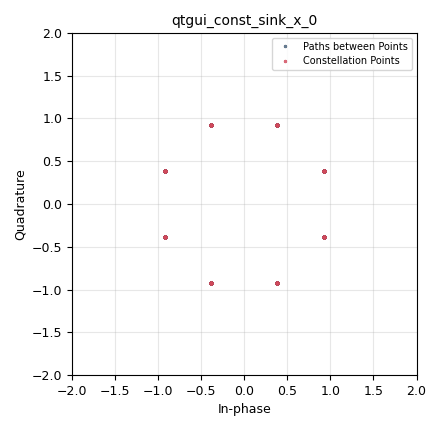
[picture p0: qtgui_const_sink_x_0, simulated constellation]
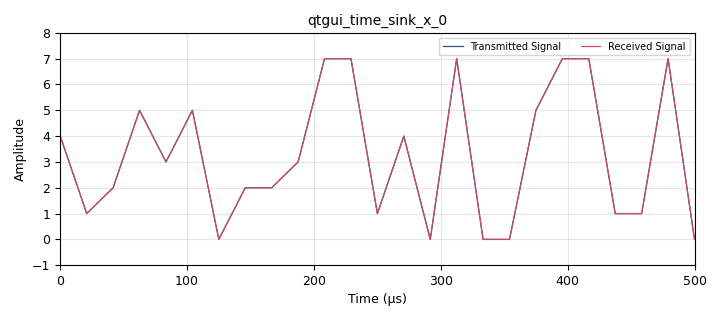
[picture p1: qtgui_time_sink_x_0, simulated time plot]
options:
  parameters:
    author: Gary Schafer
    generate_options: qt_gui
    id: psk8_modulator
    output_language: python
    title: 8PSK Modulator / Demodulator
  states: {}

blocks:
- name: psk_default
  id: variable_constellation
  parameters:
    precision: '8'
    type: 8psk
  states: {}
- name: samp_rate
  id: variable
  parameters:
    value: '48000'
  states: {}
- name: analog_random_source_x_0
  id: analog_random_source_x
  parameters:
    max: '8'
    min: '0'
    num_samps: '1000'
    repeat: 'True'
    type: byte
  states: {}
- name: blocks_add_const_vxx_1
  id: blocks_add_const_vxx
  parameters:
    comment: |-
      Rotate the constellation
      by pi/8 radians so that
      each pair of points reside
      within one quadrant.
      Value: 1j*np.pi/8
    const: 1j*np.pi/8
    type: complex
  states: {}
- name: blocks_char_to_float_0
  id: blocks_char_to_float
  parameters:
    scale: '1'
  states: {}
- name: blocks_char_to_float_0_0
  id: blocks_char_to_float
  parameters:
    scale: '1'
  states: {}
- name: blocks_char_to_float_0_1
  id: blocks_char_to_float
  parameters:
    scale: '1'
  states: {}
- name: blocks_float_to_complex_0
  id: blocks_float_to_complex
  parameters: {}
  states: {}
- name: blocks_multiply_const_vxx_1
  id: blocks_multiply_const_vxx
  parameters:
    comment: |-
      Multiply by pi/4
      radians to phase
      modulate the
      signal.
      Value: 1j*np.pi/4
    const: 1j*np.pi/4
    type: complex
  states: {}
- name: blocks_throttle_0
  id: blocks_throttle
  parameters:
    samples_per_second: samp_rate
    type: byte
  states: {}
- name: blocks_transcendental_0
  id: blocks_transcendental
  parameters:
    comment: |-
      Transmitter
      -----------------
      Use the "exp" function
      to create the complex
      phasor. The output of
      this block is the
      transmitted signal.
    name: exp
    type: complex_float
  states: {}
- name: digital_constellation_decoder_cb_0
  id: digital_constellation_decoder_cb
  parameters:
    comment: |-
      Receiver
      -------------
      Constellation Object: psk_default
    constellation: psk_default
  states: {}
- name: digital_map_bb_0
  id: digital_map_bb
  parameters:
    map: '[0,3,7,4,1,2,6,5]'
  states: {}
- name: import_0
  id: import
  parameters:
    comment: import numpy as np
    imports: import numpy as np
  states: {}
- name: qtgui_const_sink_x_0
  id: qtgui_const_sink_x
  parameters:
    label1: Paths between Points
    label2: Constellation Points
    marker1: '-1'
    nconnections: '2'
    size: '1024'
    style1: '1'
    type: complex
    width2: '10'
  states: {}
- name: qtgui_time_sink_x_0
  id: qtgui_time_sink_x
  parameters:
    label1: Transmitted Signal
    label2: Received Signal
    nconnections: '2'
    size: '25'
    srate: samp_rate
    type: float
    ymax: '8'
  states: {}

connections:
- [analog_random_source_x_0, '0', blocks_char_to_float_0_0, '0']
- [analog_random_source_x_0, '0', blocks_throttle_0, '0']
- [blocks_add_const_vxx_1, '0', blocks_transcendental_0, '0']
- [blocks_char_to_float_0, '0', qtgui_time_sink_x_0, '0']
- [blocks_char_to_float_0_0, '0', qtgui_time_sink_x_0, '1']
- [blocks_char_to_float_0_1, '0', blocks_float_to_complex_0, '0']
- [blocks_float_to_complex_0, '0', blocks_multiply_const_vxx_1, '0']
- [blocks_multiply_const_vxx_1, '0', blocks_add_const_vxx_1, '0']
- [blocks_throttle_0, '0', digital_map_bb_0, '0']
- [blocks_transcendental_0, '0', digital_constellation_decoder_cb_0, '0']
- [blocks_transcendental_0, '0', qtgui_const_sink_x_0, '0']
- [blocks_transcendental_0, '0', qtgui_const_sink_x_0, '1']
- [digital_constellation_decoder_cb_0, '0', blocks_char_to_float_0, '0']
- [digital_map_bb_0, '0', blocks_char_to_float_0_1, '0']

metadata:
  file_format: 1
